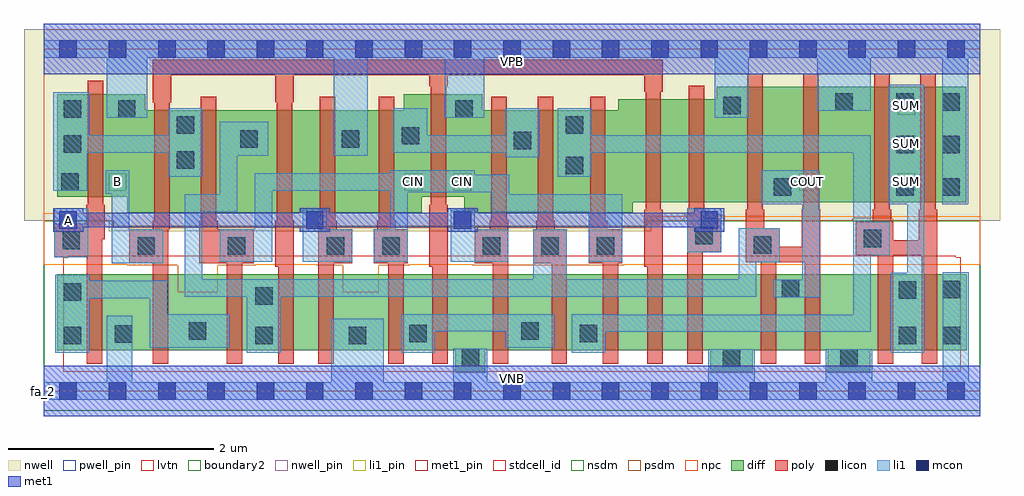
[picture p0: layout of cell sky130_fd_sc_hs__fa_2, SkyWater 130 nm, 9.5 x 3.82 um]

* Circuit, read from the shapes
.subckt sky130_fd_sc_hs__fa_2 A B CIN COUT SUM VGND VNB VPB VPWR
XM1 VGND A n1 VNB sky130_fd_pr__nfet_01v8_lvt w=0.74 l=0.15
XM2 n1 B VGND VNB sky130_fd_pr__nfet_01v8_lvt w=0.74 l=0.15
XM3 n2 CIN n1 VNB sky130_fd_pr__nfet_01v8_lvt w=0.74 l=0.15
XM4 n3 B n2 VNB sky130_fd_pr__nfet_01v8_lvt w=0.74 l=0.15
XM5 VGND A n3 VNB sky130_fd_pr__nfet_01v8_lvt w=0.74 l=0.15
XM6 n4 CIN VGND VNB sky130_fd_pr__nfet_01v8_lvt w=0.74 l=0.15
XM7 VGND B n4 VNB sky130_fd_pr__nfet_01v8_lvt w=0.74 l=0.15
XM8 n4 A VGND VNB sky130_fd_pr__nfet_01v8_lvt w=0.74 l=0.15
XM9 n5 n2 n4 VNB sky130_fd_pr__nfet_01v8_lvt w=0.74 l=0.15
XM10 n6 CIN n5 VNB sky130_fd_pr__nfet_01v8_lvt w=0.74 l=0.15
XM11 n7 B n6 VNB sky130_fd_pr__nfet_01v8_lvt w=0.74 l=0.15
XM12 VGND A n7 VNB sky130_fd_pr__nfet_01v8_lvt w=0.74 l=0.15
XM13 COUT n2 VGND VNB sky130_fd_pr__nfet_01v8_lvt w=0.74 l=0.15 m=2
XM14 SUM n5 VGND VNB sky130_fd_pr__nfet_01v8_lvt w=0.74 l=0.15 m=2
XM15 VPWR A n8 VPB sky130_fd_pr__pfet_01v8 w=1 l=0.15
XM16 n8 B VPWR VPB sky130_fd_pr__pfet_01v8 w=1 l=0.15
XM17 n2 CIN n8 VPB sky130_fd_pr__pfet_01v8 w=1 l=0.15
XM18 n9 B n2 VPB sky130_fd_pr__pfet_01v8 w=1 l=0.15
XM19 VPWR A n9 VPB sky130_fd_pr__pfet_01v8 w=1 l=0.15
XM20 n10 CIN VPWR VPB sky130_fd_pr__pfet_01v8 w=1 l=0.15
XM21 VPWR B n10 VPB sky130_fd_pr__pfet_01v8 w=1 l=0.15
XM22 n10 A VPWR VPB sky130_fd_pr__pfet_01v8 w=1 l=0.15
XM23 n5 n2 n10 VPB sky130_fd_pr__pfet_01v8 w=1 l=0.15
XM24 n11 CIN n5 VPB sky130_fd_pr__pfet_01v8 w=1 l=0.15
XM25 n12 B n11 VPB sky130_fd_pr__pfet_01v8 w=1 l=0.15
XM26 VPWR A n12 VPB sky130_fd_pr__pfet_01v8 w=1 l=0.15
XM27 COUT n2 VPWR VPB sky130_fd_pr__pfet_01v8 w=1.12 l=0.15 m=2
XM28 SUM n5 VPWR VPB sky130_fd_pr__pfet_01v8 w=1.12 l=0.15 m=2
.ends

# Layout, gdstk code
import gdstk
lib = gdstk.Library(unit=1e-6, precision=1e-09)
def R(c, l, rs):  # rectangles x0, y0, x1, y1
    for r in rs: c.add(gdstk.rectangle(r[:2], r[2:], *l))
def A(c, l, x, y, w, h, nx, ny, dx, dy):  # array of equal rectangles
    R(c, l, [(x+i*dx, y+j*dy, x+i*dx+w, y+j*dy+h) for i in range(nx) for j in range(ny)])
def P(c, l, *ps):  # polygons
    for p in ps: c.add(gdstk.Polygon(p, *l))
nwell_pin = (64, 16)
nwell = (64, 20)
diff = (65, 20)
poly = (66, 20)
licon = (66, 44)
li1_pin = (67, 16)
li1 = (67, 20)
mcon = (67, 44)
met1_pin = (68, 16)
met1 = (68, 20)
stdcell_id = (81, 4)
nsdm = (93, 44)
psdm = (94, 20)
npc = (95, 20)
pwell_pin = (122, 16)
lvtn = (125, 44)
boundary2 = (236, 0)

sky130_fd_sc_hs__fa_2 = lib.new_cell('sky130_fd_sc_hs__fa_2')
R(sky130_fd_sc_hs__fa_2, nwell_pin, [(0,3.085,9.12,3.33)])
P(sky130_fd_sc_hs__fa_2, nwell, [(9.31,3.52),(-0.19,3.52),(-0.19,1.66),(0.635,1.66),(0.635,1.555),(5.915,1.555),(5.915,1.66),(9.31,1.66)])
P(sky130_fd_sc_hs__fa_2, diff, [(8.98,2.96),(6.555,2.96),(6.555,2.84),(5.595,2.84),(5.595,2.735),(4.27,2.735),(4.27,2.89),(3.505,2.89),(3.505,2.735),(0.99,2.735),(0.99,2.89),(0.135,2.89),(0.135,1.89),(0.815,1.89),(0.815,1.735),(3.68,1.735),(3.68,1.89),(4.095,1.89),(4.095,1.735),(5.735,1.735),(5.735,1.84),(8.98,1.84)],
  [(8.985,1.135),(0.135,1.135),(0.135,0.395),(4.01,0.395),(4.01,0.18),(4.3,0.18),(4.3,0.395),(6.49,0.395),(6.49,0.18),(6.905,0.18),(6.905,0.395),(7.635,0.395),(7.635,0.18),(8.045,0.18),(8.045,0.395),(8.985,0.395)])
P(sky130_fd_sc_hs__fa_2, poly, [(2.045,1.575),(1.695,1.575),(1.695,1.66),(1.68,1.66),(1.68,2.865),(1.53,2.865),(1.53,1.66),(1.515,1.66),(1.515,1.245),(1.785,1.245),(1.785,0.265),(1.935,0.265),(1.935,1.245),(2.045,1.245)],
  [(3.005,1.575),(2.855,1.575),(2.855,1.66),(2.84,1.66),(2.84,2.865),(2.69,2.865),(2.69,1.66),(2.675,1.66),(2.675,0.265),(2.825,0.265),(2.825,1.245),(3.005,1.245)],
  [(3.545,1.575),(3.43,1.575),(3.43,1.66),(3.415,1.66),(3.415,2.865),(3.265,2.865),(3.265,1.66),(3.25,1.66),(3.25,1.575),(3.215,1.575),(3.215,1.245),(3.355,1.245),(3.355,0.265),(3.505,0.265),(3.505,1.245),(3.545,1.245)],
  [(4.525,1.66),(4.51,1.66),(4.51,2.865),(4.36,2.865),(4.36,1.66),(4.345,1.66),(4.345,1.575),(4.195,1.575),(4.195,1.245),(4.375,1.245),(4.375,0.265),(4.525,0.265)],
  [(5.095,1.575),(4.975,1.575),(4.975,1.66),(4.96,1.66),(4.96,2.865),(4.81,2.865),(4.81,1.66),(4.795,1.66),(4.795,1.575),(4.765,1.575),(4.765,1.245),(4.945,1.245),(4.945,0.265),(5.095,0.265)],
  [(0.595,1.815),(0.58,1.815),(0.58,3.02),(0.43,3.02),(0.43,1.815),(0.415,1.815),(0.415,1.63),(0.105,1.63),(0.105,1.3),(0.42,1.3),(0.42,0.265),(0.57,0.265),(0.57,1.48),(0.595,1.48)],
  [(5.635,1.575),(5.485,1.575),(5.485,1.66),(5.47,1.66),(5.47,2.865),(5.32,2.865),(5.32,1.66),(5.305,1.66),(5.305,1.245),(5.445,1.245),(5.445,0.265),(5.595,0.265),(5.595,1.245),(5.635,1.245)],
  [(6.025,1.765),(6.01,1.765),(6.01,2.915),(6.025,2.915),(6.025,3.225),(1.065,3.225),(1.065,2.81),(1.08,2.81),(1.08,1.66),(1.065,1.66),(1.065,1.575),(0.835,1.575),(0.835,1.245),(1.065,1.245),(1.065,0.265),(1.215,0.265),(1.215,1.575),(1.23,1.575),(1.23,2.81),(1.245,2.81),(1.245,3.075),(2.255,3.075),(2.255,2.81),(2.27,2.81),(2.27,1.66),(2.255,1.66),(2.255,1.21),(2.285,1.21),(2.285,0.265),(2.435,0.265),(2.435,1.66),(2.42,1.66),(2.42,2.81),(2.435,2.81),(2.435,3.075),(3.755,3.075),(3.755,2.965),(3.77,2.965),(3.77,1.815),(3.755,1.815),(3.755,1.21),(3.785,1.21),(3.785,0.265),(3.935,0.265),(3.935,1.815),(3.92,1.815),(3.92,2.965),(3.935,2.965),(3.935,3.075),(5.845,3.075),(5.845,2.915),(5.86,2.915),(5.86,1.765),(5.845,1.765),(5.845,1.21),(5.875,1.21),(5.875,0.265),(6.025,0.265)],
  [(6.595,1.68),(6.445,1.68),(6.445,1.765),(6.43,1.765),(6.43,2.97),(6.28,2.97),(6.28,1.765),(6.265,1.765),(6.265,0.265),(6.415,0.265),(6.415,1.35),(6.595,1.35)],
  [(7.56,1.765),(7.545,1.765),(7.545,3.09),(7.395,3.09),(7.395,1.765),(7.38,1.765),(7.38,1.405),(7.165,1.405),(7.165,1.585),(7.015,1.585),(7.015,1.765),(7,1.765),(7,3.09),(6.85,3.09),(6.85,1.765),(6.835,1.765),(6.835,1.255),(6.98,1.255),(6.98,0.265),(7.13,0.265),(7.13,1.255),(7.41,1.255),(7.41,0.265),(7.56,0.265)],
  [(8.7,1.765),(8.685,1.765),(8.685,3.09),(8.535,3.09),(8.535,1.765),(8.52,1.765),(8.52,1.47),(8.27,1.47),(8.27,1.65),(8.25,1.65),(8.25,1.765),(8.235,1.765),(8.235,3.09),(8.085,3.09),(8.085,1.765),(8.07,1.765),(8.07,1.65),(7.905,1.65),(7.905,1.32),(8.12,1.32),(8.12,0.265),(8.27,0.265),(8.27,1.32),(8.55,1.32),(8.55,0.265),(8.7,0.265)])
A(sky130_fd_sc_hs__fa_2, licon, 8.3, 1.9, 0.17, 0.17, 1, 3, 0, 0.415)
A(sky130_fd_sc_hs__fa_2, licon, 8.75, 1.9, 0.17, 0.17, 1, 3, 0, 0.415)
R(sky130_fd_sc_hs__fa_2, licon, [(6.61,0.235,6.78,0.405), (7.755,0.235,7.925,0.405), (4.07,0.24,4.24,0.41), (0.195,0.455,0.365,0.625), (2.06,0.455,2.23,0.625), (2.97,0.455,3.14,0.625), (8.325,0.455,8.495,0.625), (8.755,0.455,8.925,0.625), (0.695,0.47,0.865,0.64), (3.56,0.475,3.73,0.645), (5.22,0.475,5.39,0.645), (1.415,0.5,1.585,0.67), (4.65,0.5,4.82,0.67), (2.06,0.84,2.23,1.01), (0.195,0.88,0.365,1.05), (8.325,0.9,8.495,1.07), (8.755,0.905,8.925,1.075), (7.185,0.915,7.355,1.085), (0.915,1.325,1.085,1.495), (1.795,1.325,1.965,1.495), (2.755,1.325,2.925,1.495), (3.295,1.325,3.465,1.495), (4.275,1.325,4.445,1.495), (4.845,1.325,5.015,1.495), (5.385,1.325,5.555,1.495), (6.915,1.335,7.085,1.505), (0.185,1.38,0.355,1.55), (7.985,1.4,8.155,1.57), (6.345,1.43,6.515,1.6), (7.11,1.9,7.28,2.07), (0.175,1.95,0.345,2.12), (5.085,2.11,5.255,2.28), (1.295,2.165,1.465,2.335), (0.195,2.32,0.365,2.49), (4.575,2.355,4.745,2.525), (1.915,2.37,2.085,2.54), (2.905,2.37,3.075,2.54), (3.485,2.4,3.655,2.57), (1.295,2.505,1.465,2.675), (5.085,2.505,5.255,2.675), (0.195,2.66,0.365,2.83), (0.725,2.66,0.895,2.83), (4.01,2.66,4.18,2.83), (6.615,2.695,6.785,2.865), (7.705,2.73,7.875,2.9)])
A(sky130_fd_sc_hs__fa_2, li1_pin, 8.315, 1.95, 0.17, 0.17, 1, 3, 0, 0.37)
R(sky130_fd_sc_hs__fa_2, li1_pin, [(0.635,1.95,0.805,2.12), (3.515,1.95,3.685,2.12), (3.995,1.95,4.165,2.12), (7.355,1.95,7.525,2.12)])
R(sky130_fd_sc_hs__fa_2, li1, [(0.105,1.3,0.435,1.78), (6.265,1.35,6.595,1.78)])
P(sky130_fd_sc_hs__fa_2, li1, [(0,-0.085),(0,0.085),(0.615,0.085),(0.615,0.735),(0.865,0.735),(0.865,0.085),(2.8,0.085),(2.8,0.705),(3.31,0.705),(3.31,0.085),(3.99,0.085),(3.99,0.41),(4.32,0.41),(4.32,0.085),(6.47,0.085),(6.47,0.405),(6.925,0.405),(6.925,0.085),(7.615,0.085),(7.615,0.405),(8.065,0.405),(8.065,0.085),(8.755,0.085),(8.755,1.155),(9.005,1.155),(9.005,0.085),(9.12,0.085),(9.12,-0.085)],
  [(0,3.245),(0,3.415),(9.12,3.415),(9.12,3.245),(9,3.245),(9,1.82),(8.75,1.82),(8.75,3.245),(8.05,3.245),(8.05,2.73),(7.53,2.73),(7.53,3.245),(6.865,3.245),(6.865,2.66),(6.535,2.66),(6.535,3.245),(4.29,3.245),(4.29,2.66),(3.905,2.66),(3.905,3.245),(3.155,3.245),(3.155,2.29),(2.825,2.29),(2.825,3.245),(1.01,3.245),(1.01,2.66),(0.615,2.66),(0.615,3.245)],
  [(3.375,1.575),(3.375,1.95),(2.225,1.95),(2.225,1.26),(1.715,1.26),(1.715,1.575),(2.055,1.575),(2.055,2.12),(3.375,2.12),(3.375,2.15),(4.195,2.15),(4.195,2.105),(4.535,2.105),(4.535,1.915),(5.635,1.915),(5.635,1.26),(5.305,1.26),(5.305,1.745),(4.365,1.745),(4.365,1.935),(3.545,1.935),(3.545,1.26),(3.215,1.26),(3.215,1.575)],
  [(0.835,1.575),(1.165,1.575),(1.165,1.245),(0.665,1.245),(0.665,1.92),(0.605,1.92),(0.605,2.15),(0.835,2.15)],
  [(6.985,1.82),(6.985,2.15),(7.555,2.15),(7.555,0.915),(7.105,0.915),(7.105,1.085),(7.385,1.085),(7.385,1.82)],
  [(8.22,1.82),(8.22,2.98),(8.575,2.98),(8.575,0.375),(8.245,0.375),(8.245,1.15),(8.405,1.15),(8.405,1.82)],
  [(5.335,2.49),(8.05,2.49),(8.05,1.65),(8.235,1.65),(8.235,1.32),(8.05,1.32),(8.05,0.575),(5.47,0.575),(5.47,0.375),(5.14,0.375),(5.14,0.75),(5.47,0.75),(5.47,0.745),(7.88,0.745),(7.88,2.32),(5.335,2.32),(5.335,2.085),(5.005,2.085),(5.005,2.755),(5.335,2.755)],
  [(3.735,2.49),(4.495,2.49),(4.495,2.755),(4.825,2.755),(4.825,2.275),(4.495,2.275),(4.495,2.32),(3.405,2.32),(3.405,2.755),(3.735,2.755)],
  [(1.715,1.915),(1.715,2.62),(2.185,2.62),(2.185,2.29),(1.885,2.29),(1.885,1.745),(1.545,1.745),(1.545,1.09),(4.765,1.09),(4.765,1.575),(5.095,1.575),(5.095,1.09),(6.765,1.09),(6.765,1.585),(7.165,1.585),(7.165,1.255),(6.935,1.255),(6.935,0.92),(2.31,0.92),(2.31,0.375),(1.98,0.375),(1.98,0.92),(1.375,0.92),(1.375,1.915)],
  [(1.545,2.755),(1.215,2.755),(1.215,2.49),(0.445,2.49),(0.445,2.91),(0.095,2.91),(0.095,1.95),(0.425,1.95),(0.425,2.32),(1.215,2.32),(1.215,2.085),(1.545,2.085)],
  [(4.5,0.58),(3.81,0.58),(3.81,0.375),(3.48,0.375),(3.48,0.75),(4.97,0.75),(4.97,0.42),(4.5,0.42)],
  [(1.035,0.905),(0.445,0.905),(0.445,0.375),(0.115,0.375),(0.115,1.13),(0.445,1.13),(0.445,1.075),(1.205,1.075),(1.205,0.75),(1.81,0.75),(1.81,0.42),(1.035,0.42)],
  [(2.525,1.26),(2.525,1.78),(2.755,1.78),(2.755,1.575),(3.005,1.575),(3.005,1.26)],
  [(3.965,1.26),(3.965,1.765),(4.195,1.765),(4.195,1.575),(4.525,1.575),(4.525,1.26)])
A(sky130_fd_sc_hs__fa_2, mcon, 0.155, -0.085, 0.17, 0.17, 19, 2, 0.48, 3.33)
R(sky130_fd_sc_hs__fa_2, mcon, [(0.155,1.58,0.325,1.75), (2.555,1.58,2.725,1.75), (3.995,1.58,4.165,1.75), (6.395,1.58,6.565,1.75)])
R(sky130_fd_sc_hs__fa_2, met1_pin, [(0,0,9.12,0.245), (0.155,1.58,0.325,1.75), (0,3.085,9.12,3.33)])
R(sky130_fd_sc_hs__fa_2, met1, [(0,-0.245,9.12,0.245), (0,3.085,9.12,3.575)])
P(sky130_fd_sc_hs__fa_2, met1, [(4.225,1.735),(6.335,1.735),(6.335,1.78),(6.625,1.78),(6.625,1.55),(6.335,1.55),(6.335,1.595),(4.225,1.595),(4.225,1.55),(3.935,1.55),(3.935,1.595),(2.785,1.595),(2.785,1.55),(2.495,1.55),(2.495,1.595),(0.385,1.595),(0.385,1.55),(0.095,1.55),(0.095,1.78),(0.385,1.78),(0.385,1.735),(2.495,1.735),(2.495,1.78),(2.785,1.78),(2.785,1.735),(3.935,1.735),(3.935,1.78),(4.225,1.78)])
R(sky130_fd_sc_hs__fa_2, stdcell_id, [(0,0,9.12,3.33)])
P(sky130_fd_sc_hs__fa_2, nsdm, [(9.12,1.66),(5.865,1.66),(5.865,1.605),(0.685,1.605),(0.685,1.66),(0,1.66),(0,-0.19),(9.12,-0.19)])
P(sky130_fd_sc_hs__fa_2, psdm, [(9.12,3.52),(0,3.52),(0,1.66),(0.685,1.66),(0.685,1.605),(5.865,1.605),(5.865,1.66),(6.235,1.66),(6.235,1.71),(6.625,1.71),(6.625,1.66),(7.875,1.66),(7.875,1.68),(8.265,1.68),(8.265,1.66),(9.12,1.66)])
P(sky130_fd_sc_hs__fa_2, npc, [(9.12,1.7),(5.875,1.7),(5.875,1.595),(0.675,1.595),(0.675,1.73),(0,1.73),(0,1.23),(0.815,1.23),(0.815,1.225),(1.305,1.225),(1.305,0.96),(1.695,0.96),(1.695,1.225),(2.065,1.225),(2.065,1.23),(2.655,1.23),(2.655,1.225),(2.915,1.225),(2.915,0.96),(3.265,0.96),(3.265,1.225),(3.565,1.225),(3.565,1.23),(4.175,1.23),(4.175,1.225),(5.655,1.225),(5.655,1.23),(9.12,1.23)])
R(sky130_fd_sc_hs__fa_2, pwell_pin, [(0,0,9.12,0.245)])
P(sky130_fd_sc_hs__fa_2, lvtn, [(8.93,1.3),(8.88,1.3),(8.88,1.315),(0.24,1.315),(0.24,1.3),(0.19,1.3),(0.19,0.19),(8.93,0.19)])
R(sky130_fd_sc_hs__fa_2, boundary2, [(0,0,9.12,3.33)])
sky130_fd_sc_hs__fa_2.add(gdstk.Label('fa_2', (0,0), layer=83, texttype=44))
sky130_fd_sc_hs__fa_2.add(gdstk.Label('VNB', (4.56,0.123), layer=64, texttype=59))
sky130_fd_sc_hs__fa_2.add(gdstk.Label('VPB', (4.56,3.208), layer=64, texttype=5))
sky130_fd_sc_hs__fa_2.add(gdstk.Label('A', (0.24,1.665), layer=68, texttype=5))
sky130_fd_sc_hs__fa_2.add(gdstk.Label('VPWR', (4.56,3.208), layer=68, texttype=5))
sky130_fd_sc_hs__fa_2.add(gdstk.Label('VGND', (4.56,0.123), layer=68, texttype=5))
sky130_fd_sc_hs__fa_2.add(gdstk.Label('CIN', (3.6,2.035), layer=67, texttype=5))
sky130_fd_sc_hs__fa_2.add(gdstk.Label('CIN', (4.08,2.035), layer=67, texttype=5))
sky130_fd_sc_hs__fa_2.add(gdstk.Label('B', (0.72,2.035), layer=67, texttype=5))
sky130_fd_sc_hs__fa_2.add(gdstk.Label('COUT', (7.44,2.035), layer=67, texttype=5))
sky130_fd_sc_hs__fa_2.add(gdstk.Label('SUM', (8.4,2.035), layer=67, texttype=5))
sky130_fd_sc_hs__fa_2.add(gdstk.Label('SUM', (8.4,2.405), layer=67, texttype=5))
sky130_fd_sc_hs__fa_2.add(gdstk.Label('SUM', (8.4,2.775), layer=67, texttype=5))

lib.write_gds('sky130_fd_sc_hs__fa_2.gds')
